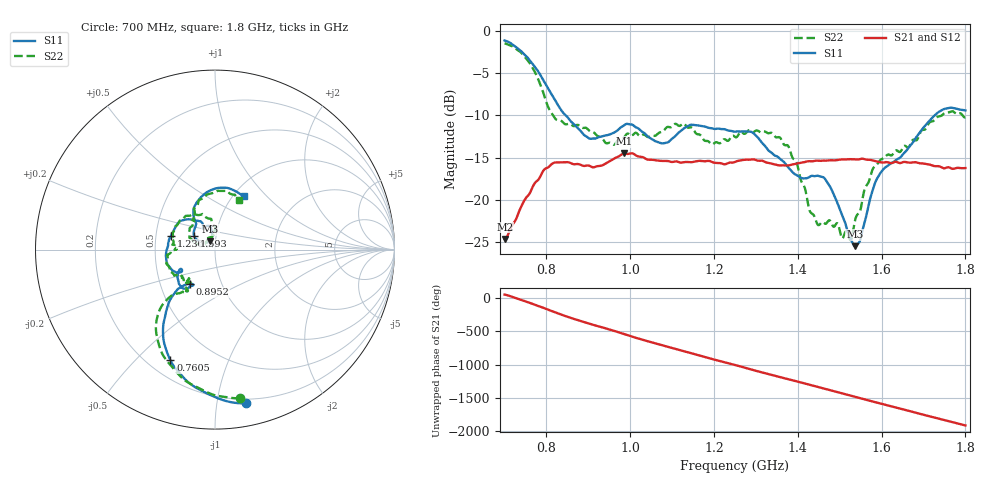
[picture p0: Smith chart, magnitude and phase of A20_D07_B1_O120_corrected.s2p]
! Created with skrf 1.9.0 (http://scikit-rf.org).
# Hz S RI R 50.0
!freq ReS11 ImS11 ReS21 ImS21 ReS12 ImS12 ReS22 ImS22
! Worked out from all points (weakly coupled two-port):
!   1601 points, 700 MHz to 1.8 GHz, reference 50 ohm
!   highest |S21| = -14.50 dB at 986 MHz (marker M1); lowest = -24.6 dB at 700.7 MHz (marker M2)
!   lowest |S11| = -25.5 dB at 1.536 GHz (marker M3), VSWR 1.11, Z = 47.3 + j4.45 ohm
!   |S11| at or under -10 dB: 845.5 MHz to 1.727 GHz (881.6 MHz wide, 68.5 % of centre)
!   |S22| runs from -24.8 to -1.5 dB; largest |S21 - S12| = 0.0036
!   S11 on the Smith chart (normalised r, x): 700 MHz: 0.17, -1.21; 760.5 MHz: 0.29, -0.64; 895.2 MHz: 0.71, -0.29; 1.236 GHz: 0.60, +0.10; 1.593 GHz: 0.78, +0.12; 1.8 GHz: 1.12, +0.75
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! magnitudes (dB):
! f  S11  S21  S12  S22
! 700 MHz  -1.2  -24.6  -24.4  -1.5
! 700.7 MHz  -1.2  -24.6  -24.3  -1.5
! 760.5 MHz  -3.5  -19.2  -19.0  -3.9
! 819.6 MHz  -8.1  -15.6  -15.7  -10.3
! 883.6 MHz  -12.0  -15.9  -15.8  -11.5
! 895.2 MHz  -12.5  -15.9  -16.0  -11.5
! 944.1 MHz  -12.4  -15.6  -15.7  -13.3
! 986 MHz  -11.2  -14.5  -14.6  -12.6
! 1.067 GHz  -13.2  -15.4  -15.3  -12.1
! 1.145 GHz  -11.1  -15.6  -15.6  -11.4
! 1.236 GHz  -11.8  -15.6  -15.7  -12.9
! 1.25 GHz  -11.9  -15.5  -15.5  -12.6
! 1.358 GHz  -15.2  -15.9  -15.9  -12.7
! 1.396 GHz  -17.0  -15.7  -15.7  -15.4
! 1.434 GHz  -17.2  -15.5  -15.4  -21.6
! 1.473 GHz  -18.1  -15.3  -15.3  -22.5
! 1.525 GHz  -24.5  -15.2  -15.2  -24.7
! 1.536 GHz  -25.5  -15.2  -15.2  -22.6
! 1.593 GHz  -17.1  -15.5  -15.5  -15.5
! 1.617 GHz  -15.9  -15.6  -15.6  -14.7
! 1.735 GHz  -9.7  -16.0  -16.1  -10.2
! 1.8 GHz  -9.4  -16.2  -16.2  -10.3
